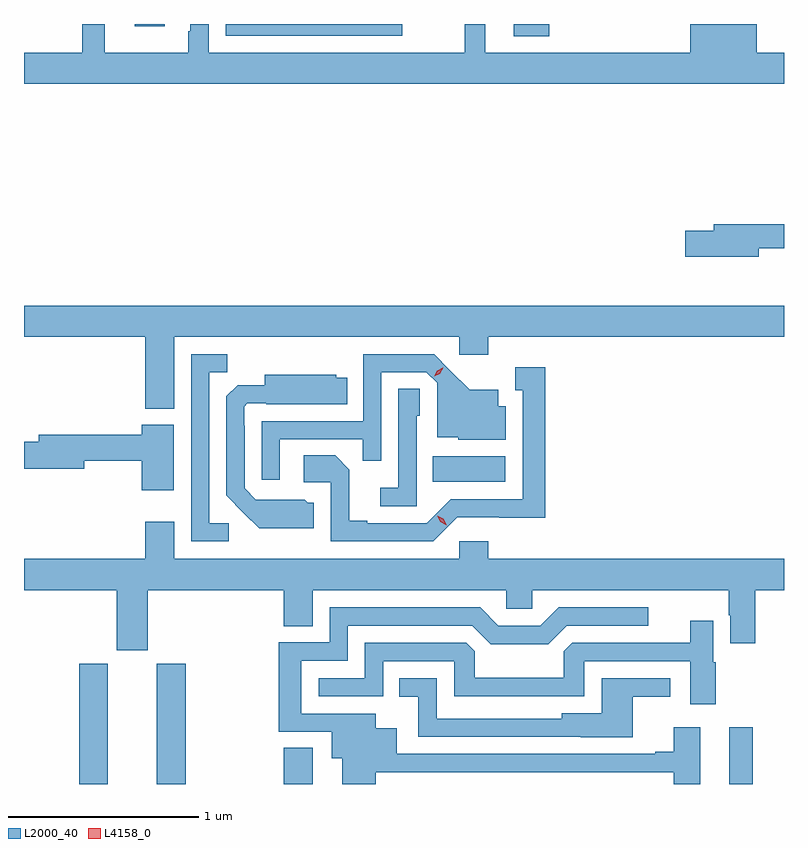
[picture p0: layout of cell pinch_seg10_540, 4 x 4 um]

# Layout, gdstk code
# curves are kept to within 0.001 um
import gdstk
lib = gdstk.Library(unit=1e-6, precision=1e-09)
def R(c, l, rs):  # rectangles x0, y0, x1, y1
    for r in rs: c.add(gdstk.rectangle(r[:2], r[2:], *l))
def P(c, l, *ps):  # polygons
    for p in ps: c.add(gdstk.Polygon(p, *l))
L2000_40 = (2000, 40)
L4158_0 = (4158, 0)

pinch_seg10_540 = lib.new_cell('pinch_seg10_540')
R(pinch_seg10_540, L2000_40, [(315.104,1255.339,315.256,1255.971), (315.512,1255.339,315.665,1255.971), (316.181,1255.339,316.333,1255.529), (318.527,1255.339,318.649,1255.639), (316.966,1256.93,317.347,1257.064), (317.391,1259.274,317.579,1259.339), (315.876,1259.277,316.805,1259.339), (315.398,1259.328,315.556,1259.339)])
P(pinch_seg10_540, L2000_40, [(318.814,1259.188),(318.67,1259.188),(318.67,1259.339),(318.32,1259.339),(318.32,1259.188),(317.242,1259.188),(317.242,1259.339),(317.133,1259.339),(317.133,1259.188),(315.786,1259.188),(315.786,1259.339),(315.689,1259.339),(315.689,1259.301),(315.678,1259.301),(315.678,1259.188),(315.238,1259.188),(315.238,1259.339),(315.121,1259.339),(315.121,1259.188),(314.814,1259.188),(314.814,1259.024),(318.814,1259.024)],
  [(318.682,1258.158),(318.814,1258.158),(318.814,1258.286),(318.443,1258.286),(318.443,1258.25),(318.294,1258.25),(318.294,1258.115),(318.682,1258.115)],
  [(315.604,1257.692),(317.106,1257.692),(317.106,1257.597),(317.258,1257.597),(317.258,1257.692),(318.814,1257.692),(318.814,1257.856),(314.814,1257.856),(314.814,1257.692),(315.452,1257.692),(315.452,1257.314),(315.604,1257.314)],
  [(315.892,1256.712),(315.789,1256.712),(315.789,1257.505),(315.885,1257.505),(315.885,1257.6),(315.693,1257.6),(315.693,1256.616),(315.892,1256.616)],
  [(316.161,1257.153),(316.597,1257.153),(316.597,1257.04),(316.695,1257.04),(316.695,1257.507),(316.932,1257.507),(316.989,1257.45),(316.989,1257.164),(317.1,1257.164),(317.1,1257.152),(317.35,1257.152),(317.35,1257.328),(317.311,1257.328),(317.311,1257.415),(317.159,1257.415),(316.972,1257.6),(316.599,1257.6),(316.599,1257.249),(316.065,1257.249),(316.065,1256.94),(316.161,1256.94)],
  [(317.094,1256.742),(317.557,1256.741),(317.557,1257.532),(317.399,1257.532),(317.399,1257.411),(317.438,1257.411),(317.438,1256.838),(317.061,1256.838),(316.935,1256.712),(316.621,1256.712),(316.621,1256.725),(316.527,1256.725),(316.527,1256.992),(316.451,1257.068),(316.287,1257.068),(316.287,1256.928),(316.428,1256.928),(316.428,1256.616),(316.968,1256.616)],
  [(316.339,1256.82),(316.308,1256.82),(316.292,1256.836),(316.035,1256.835),(315.975,1256.895),(315.975,1257.224),(315.972,1257.224),(315.972,1257.324),(315.99,1257.342),(316.09,1257.342),(316.09,1257.338),(316.514,1257.338),(316.514,1257.478),(316.458,1257.478),(316.458,1257.493),(316.082,1257.493),(316.082,1257.439),(315.938,1257.439),(315.879,1257.38),(315.879,1256.858),(316.051,1256.684),(316.339,1256.684)],
  [(316.881,1257.276),(316.896,1257.276),(316.896,1257.419),(316.785,1257.419),(316.785,1256.899),(316.689,1256.899),(316.689,1256.802),(316.881,1256.802)],
  [(315.601,1257.229),(315.434,1257.229),(315.434,1257.176),(314.891,1257.176),(314.891,1257.14),(314.814,1257.14),(314.814,1256.998),(315.13,1256.998),(315.13,1257.04),(315.434,1257.04),(315.434,1256.886),(315.601,1256.886)],
  [(315.466,1256.36),(316.181,1256.36),(316.181,1256.17),(316.333,1256.17),(316.333,1256.36),(317.352,1256.36),(317.352,1256.262),(317.49,1256.262),(317.49,1256.36),(318.523,1256.36),(318.523,1256.228),(318.53,1256.228),(318.53,1256.079),(318.662,1256.079),(318.662,1256.36),(318.814,1256.36),(318.814,1256.524),(317.258,1256.524),(317.258,1256.617),(317.106,1256.617),(317.106,1256.524),(315.604,1256.524),(315.604,1256.719),(315.452,1256.719),(315.452,1256.524),(314.814,1256.524),(314.814,1256.36),(315.302,1256.36),(315.302,1256.043),(315.466,1256.043)],
  [(316.666,1255.401),(318.233,1255.401),(318.233,1255.339),(318.373,1255.339),(318.373,1255.639),(318.233,1255.639),(318.233,1255.51),(318.137,1255.51),(318.137,1255.497),(316.777,1255.497),(316.777,1255.633),(316.666,1255.633),(316.666,1255.71),(316.272,1255.71),(316.272,1255.989),(316.518,1255.989),(316.518,1256.172),(317.172,1256.172),(317.27,1256.075),(317.573,1256.075),(317.67,1256.172),(318.1,1256.172),(318.1,1256.268),(317.628,1256.268),(317.532,1256.172),(317.31,1256.172),(317.214,1256.268),(316.422,1256.268),(316.422,1256.085),(316.156,1256.085),(316.156,1255.614),(316.433,1255.614),(316.433,1255.475),(316.49,1255.475),(316.49,1255.339),(316.666,1255.339)],
  [(318.455,1255.979),(318.442,1255.979),(318.442,1256.197),(318.32,1256.197),(318.32,1256.082),(317.7,1256.082),(317.655,1256.037),(317.655,1255.898),(317.187,1255.898),(317.187,1256.037),(317.142,1256.082),(316.608,1256.082),(316.608,1255.896),(316.365,1255.896),(316.365,1255.8),(316.704,1255.8),(316.704,1255.986),(317.079,1255.986),(317.079,1255.8),(317.763,1255.8),(317.763,1255.986),(318.32,1255.986),(318.32,1255.758),(318.455,1255.758)],
  [(318.019,1255.799),(318.214,1255.799),(318.214,1255.896),(317.855,1255.896),(317.855,1255.711),(317.643,1255.711),(317.643,1255.683),(316.986,1255.683),(316.986,1255.896),(316.789,1255.896),(316.789,1255.799),(316.889,1255.799),(316.889,1255.587),(317.743,1255.587),(317.743,1255.586),(318.019,1255.586)])
P(pinch_seg10_540, L4158_0, [(317.038,1256.701),(317.006,1256.72),(316.988,1256.752),(316.988,1256.752),(316.989,1256.752),(317.02,1256.734),(317.038,1256.701),(317.038,1256.701)],
  [(316.972,1257.484),(316.972,1257.484),(316.989,1257.514),(317.019,1257.529),(317.02,1257.529),(317.02,1257.529),(317.002,1257.499),(316.972,1257.484)])

lib.write_gds('pinch_seg10_540.gds')
